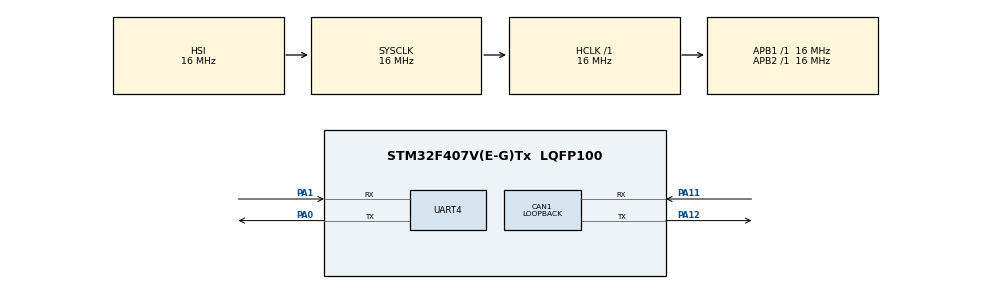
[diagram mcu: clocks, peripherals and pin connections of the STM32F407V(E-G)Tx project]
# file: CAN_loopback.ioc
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CAN1.BS1=CAN_BS1_8TQ
CAN1.CalculateTimeQuantum=1000.0
CAN1.Mode=CAN_MODE_LOOPBACK
CAN1.NART=ENABLE
Mcu.Family=STM32F4
Mcu.Name=STM32F407V(E-G)Tx
Mcu.Package=LQFP100
NVIC.PriorityGroup=NVIC_PRIORITYGROUP_4
NVIC.UART4_IRQn=true\:0\:0\:false\:false\:true\:true\:true
PA0-WKUP.Mode=Asynchronous
PA0-WKUP.Signal=UART4_TX
PA1.Mode=Asynchronous
PA1.Signal=UART4_RX
PA11.Mode=Master
PA11.Signal=CAN1_RX
PA12.Mode=Master
PA12.Signal=CAN1_TX
ProjectManager.HeapSize=0x200
ProjectManager.StackSize=0x400
ProjectManager.TargetToolchain=STM32CubeIDE
RCC.AHBFreq_Value=16000000
RCC.APB1Freq_Value=16000000
RCC.APB2Freq_Value=16000000
RCC.CortexFreq_Value=16000000
RCC.HSE_VALUE=25000000
RCC.HSI_VALUE=16000000
RCC.LSE_VALUE=32768
RCC.SYSCLKFreq_VALUE=16000000
RCC.VCOOutputFreq_Value=192000000
UART4.VirtualMode=Asynchronous
board=custom

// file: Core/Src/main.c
/* USER CODE BEGIN Header */
/**
  ******************************************************************************
  * @file           : main.c
  * @brief          : Main program body
  ******************************************************************************
  * @attention
  *
  * <h2><center>&copy; Copyright (c) 2020 STMicroelectronics.
  * All rights reserved.</center></h2>
  *
  * This software component is licensed by ST under BSD 3-Clause license,
  * the "License"; You may not use this file except in compliance with the
  * License. You may obtain a copy of the License at:
  *                        opensource.org/licenses/BSD-3-Clause
  *
  ******************************************************************************
  */
/* USER CODE END Header */

#include "main.h"

/* USER CODE BEGIN Includes */
#include <string.h>
#include <stdio.h>
/* USER CODE END Includes */

CAN_HandleTypeDef hcan1;

UART_HandleTypeDef huart4;

void SystemClock_Config(void);
static void MX_GPIO_Init(void);
static void MX_CAN1_Init(void);
static void MX_UART4_Init(void);
/* USER CODE BEGIN PFP */
void can1_tx(void);
void can1_rx(void);
void can1_filter_config(void);
/* USER CODE END PFP */

int main(void)
{

  /* MCU Configuration--------------------------------------------------------*/

  /* Reset of all peripherals, Initializes the Flash interface and the Systick. */
  HAL_Init();

  /* Configure the system clock */
  SystemClock_Config();

  /* Initialize all configured peripherals */
  MX_GPIO_Init();
  MX_CAN1_Init();
  MX_UART4_Init();

  /* USER CODE BEGIN 2 */
  can1_filter_config();

  if(HAL_CAN_Start(&hcan1) != HAL_OK) //moves operating mode from initialization to normal
  {
	  Error_Handler();
  }

  can1_tx();
  can1_rx();
  /* USER CODE END 2 */

  /* Infinite loop */
  while (1)
  {

  }
}

void SystemClock_Config(void)
{
  RCC_OscInitTypeDef RCC_OscInitStruct = {0};
  RCC_ClkInitTypeDef RCC_ClkInitStruct = {0};

  /** Configure the main internal regulator output voltage
  */
  __HAL_RCC_PWR_CLK_ENABLE();
  __HAL_PWR_VOLTAGESCALING_CONFIG(PWR_REGULATOR_VOLTAGE_SCALE1);
  /** Initializes the CPU, AHB and APB busses clocks
  */
  RCC_OscInitStruct.OscillatorType = RCC_OSCILLATORTYPE_HSI;
  RCC_OscInitStruct.HSIState = RCC_HSI_ON;
  RCC_OscInitStruct.HSICalibrationValue = RCC_HSICALIBRATION_DEFAULT;
  RCC_OscInitStruct.PLL.PLLState = RCC_PLL_NONE;
  if (HAL_RCC_OscConfig(&RCC_OscInitStruct) != HAL_OK)
  {
    Error_Handler();
  }
  /** Initializes the CPU, AHB and APB busses clocks
  */
  RCC_ClkInitStruct.ClockType = RCC_CLOCKTYPE_HCLK|RCC_CLOCKTYPE_SYSCLK
                              |RCC_CLOCKTYPE_PCLK1|RCC_CLOCKTYPE_PCLK2;
  RCC_ClkInitStruct.SYSCLKSource = RCC_SYSCLKSOURCE_HSI;
  RCC_ClkInitStruct.AHBCLKDivider = RCC_SYSCLK_DIV1;
  RCC_ClkInitStruct.APB1CLKDivider = RCC_HCLK_DIV1;
  RCC_ClkInitStruct.APB2CLKDivider = RCC_HCLK_DIV1;

  if (HAL_RCC_ClockConfig(&RCC_ClkInitStruct, FLASH_LATENCY_0) != HAL_OK)
  {
    Error_Handler();
  }
}

static void MX_CAN1_Init(void)
{

  hcan1.Instance = CAN1;

  //Below fields present in CAN Bit Timing Register
  hcan1.Init.Prescaler = 16;
  hcan1.Init.Mode = CAN_MODE_LOOPBACK;
  hcan1.Init.SyncJumpWidth = CAN_SJW_1TQ;
  hcan1.Init.TimeSeg1 = CAN_BS1_8TQ;
  hcan1.Init.TimeSeg2 = CAN_BS2_1TQ;

  //Below fields present in CAN Master Control Register
  hcan1.Init.TimeTriggeredMode = DISABLE;
  hcan1.Init.AutoBusOff = ENABLE; //hardware auto bus off management (happens automatically without software intervention)
  hcan1.Init.AutoWakeUp = DISABLE;
  hcan1.Init.AutoRetransmission = ENABLE;
  hcan1.Init.ReceiveFifoLocked = DISABLE;
  hcan1.Init.TransmitFifoPriority = DISABLE;

  //changes mode of CAN from Sleep to Initialization
  if (HAL_CAN_Init(&hcan1) != HAL_OK)
  {
    Error_Handler();
  }

}

static void MX_UART4_Init(void)
{

  huart4.Instance = UART4;
  huart4.Init.BaudRate = 115200;
  huart4.Init.WordLength = UART_WORDLENGTH_8B;
  huart4.Init.StopBits = UART_STOPBITS_1;
  huart4.Init.Parity = UART_PARITY_NONE;
  huart4.Init.Mode = UART_MODE_TX_RX;
  huart4.Init.HwFlowCtl = UART_HWCONTROL_NONE;
  huart4.Init.OverSampling = UART_OVERSAMPLING_16;
  if (HAL_UART_Init(&huart4) != HAL_OK)
  {
    Error_Handler();
  }

}

static void MX_GPIO_Init(void)
{

  /* GPIO Ports Clock Enable */
  __HAL_RCC_GPIOA_CLK_ENABLE();

}

/* USER CODE BEGIN 4 */
void can1_filter_config(void)
{
	CAN_FilterTypeDef can1_filter_init;

	can1_filter_init.FilterActivation = CAN_FILTER_ENABLE;
	can1_filter_init.FilterBank = 0;
	can1_filter_init.FilterFIFOAssignment = CAN_RX_FIFO0;
	can1_filter_init.FilterIdHigh = 0x0000;
	can1_filter_init.FilterIdLow = 0x0000;
	can1_filter_init.FilterMaskIdHigh = 0x0000;
	can1_filter_init.FilterMaskIdLow = 0x0000;
	can1_filter_init.FilterMode = CAN_FILTERMODE_IDMASK;
	can1_filter_init.FilterScale = CAN_FILTERSCALE_32BIT;

	if(HAL_CAN_ConfigFilter(&hcan1, &can1_filter_init) != HAL_OK)
	{
		Error_Handler();
	}
}

void can1_tx(void)
{
	CAN_TxHeaderTypeDef TxHeader; //header of the CAN Tx message

	/*HAL_CAN_AddTxMessage() updates the value of this variable depending
	  the Tx mailbox (out of the 3) in which the message is added
	 */
	uint32_t txMailbox;

	//message to be sent
	uint8_t msg[5] = {'H', 'E', 'L', 'L', 'O'};

	TxHeader.DLC = 5;				//Length of data to be sent in bytes
	TxHeader.StdId = 0x65D; 		//Standard CAN message 11-bit identifier, not extended identifier 29-bit identifier
	TxHeader.IDE = CAN_ID_STD;		//Type of identifier (standard or extended)
	TxHeader.RTR = CAN_RTR_DATA; 	//Sending data frame

	//to add the Tx message to the mailbox and triggers transmission
	if(HAL_CAN_AddTxMessage(&hcan1, &TxHeader, msg, &txMailbox) != HAL_OK)
	{
		Error_Handler();
	}

	//polling for message to be sent
	while(HAL_CAN_IsTxMessagePending(&hcan1, txMailbox));

	//sending a message over UART after CAN message is transmitted
	char arr[50];
	sprintf((char *)arr, "Message Transmitted\n");
	HAL_UART_Transmit(&huart4, (uint8_t *)arr, (uint16_t) strlen(arr), HAL_MAX_DELAY); //blocking UART Tx
}

void can1_rx(void)
{
	CAN_RxHeaderTypeDef RxHeader;
	/*
	 * Why do we not need to initialize variable RxHeader here? We initialized TxHeader in CAN1_Tx().
	 *	-> It is not mandatory. Since all the members of this structure will be filled by the Rx API.
	 */

	uint8_t rcvd_msg[5];			//to store received data

	while(HAL_CAN_GetRxFifoFillLevel(&hcan1, CAN_RX_FIFO0)); //check if any message present in Rx FIFO. Returns the no. of mailboxes filled in the FIFO specified

	if(HAL_CAN_GetRxMessage(&hcan1, CAN_RX_FIFO0, &RxHeader, rcvd_msg) != HAL_OK) //polling based reception
	{
		Error_Handler();
	}

	char arr[50];
	sprintf(arr, "Message Recived - %s\n", rcvd_msg);
	HAL_UART_Transmit(&huart4, (uint8_t *)arr, (uint16_t) strlen(arr), HAL_MAX_DELAY); //blocking UART Tx
}
/* USER CODE END 4 */

void Error_Handler(void)
{
  /* USER CODE BEGIN Error_Handler_Debug */
  /* User can add his own implementation to report the HAL error return state */
	while(1);
  /* USER CODE END Error_Handler_Debug */
}

/************************ (C) COPYRIGHT STMicroelectronics *****END OF FILE****/
